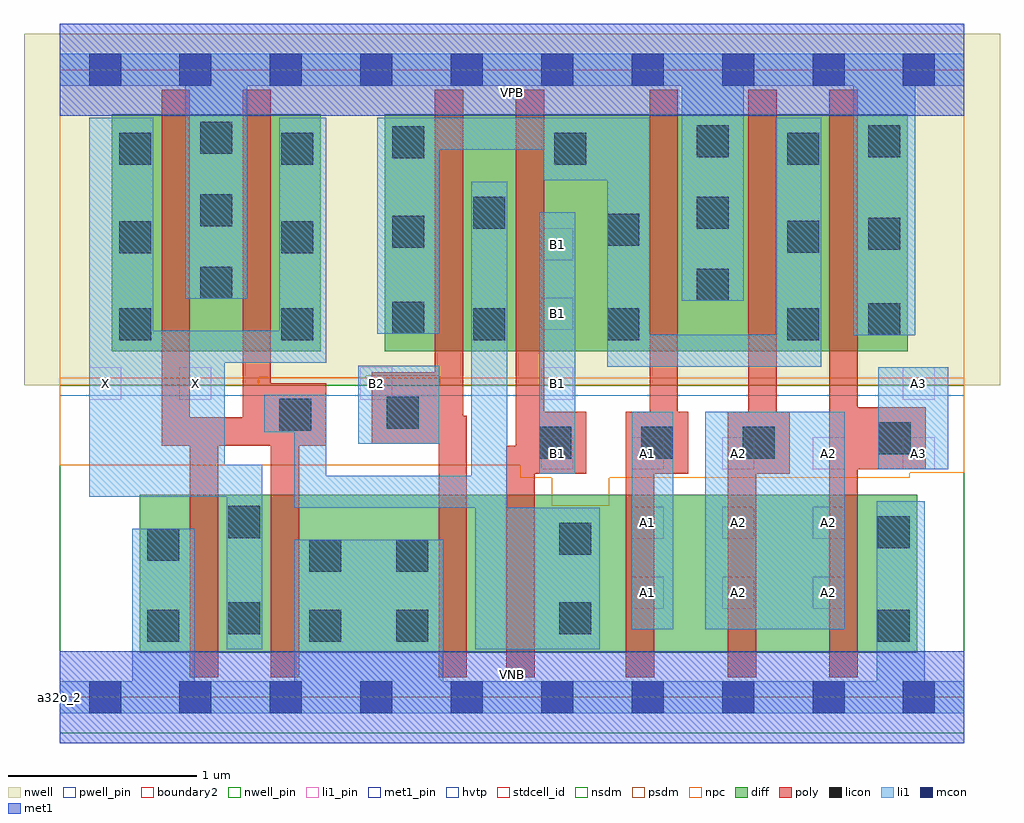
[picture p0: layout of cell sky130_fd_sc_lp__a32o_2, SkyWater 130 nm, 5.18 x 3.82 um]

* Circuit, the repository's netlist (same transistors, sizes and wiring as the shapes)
* Copyright 2020 The SkyWater PDK Authors
*
* Licensed under the Apache License, Version 2.0 (the "License");
* you may not use this file except in compliance with the License.
* You may obtain a copy of the License at
*
*     https://www.apache.org/licenses/LICENSE-2.0
*
* Unless required by applicable law or agreed to in writing, software
* distributed under the License is distributed on an "AS IS" BASIS,
* WITHOUT WARRANTIES OR CONDITIONS OF ANY KIND, either express or implied.
* See the License for the specific language governing permissions and
* limitations under the License.
*
* SPDX-License-Identifier: Apache-2.0

.SUBCKT sky130_fd_sc_lp__a32o_2 A1 A2 A3 B1 B2 VGND VNB VPB VPWR X
*.PININFO A1:I A2:I A3:I B1:I B2:I VGND:I VNB:I VPB:I VPWR:I X:O
MMPA0 pndA A1 VPWR VPB sky130_fd_pr__pfet_01v8_hvt m=1 w=1.26U l=0.15U mult=1 sa=0.265
+ sb=0.265 sd=0.28 area=0.063 perim=1.14
MMPA1 pndA A2 VPWR VPB sky130_fd_pr__pfet_01v8_hvt m=1 w=1.26U l=0.15U mult=1 sa=0.265
+ sb=0.265 sd=0.28 area=0.063 perim=1.14
MMPA2 pndA A3 VPWR VPB sky130_fd_pr__pfet_01v8_hvt m=1 w=1.26U l=0.15U mult=1 sa=0.265
+ sb=0.265 sd=0.28 area=0.063 perim=1.14
MMPB0 y B1 pndA VPB sky130_fd_pr__pfet_01v8_hvt m=1 w=1.26U l=0.15U mult=1 sa=0.265
+ sb=0.265 sd=0.28 area=0.063 perim=1.14
MMPB1 y B2 pndA VPB sky130_fd_pr__pfet_01v8_hvt m=1 w=1.26U l=0.15U mult=1 sa=0.265
+ sb=0.265 sd=0.28 area=0.063 perim=1.14
MMIPX X y VPWR VPB sky130_fd_pr__pfet_01v8_hvt m=2 w=1.26U l=0.15U mult=1 sa=0.265
+ sb=0.265 sd=0.28 area=0.063 perim=1.14
MMNA0 y A1 sndA1 VNB sky130_fd_pr__nfet_01v8 m=1 w=0.84U l=0.15U mult=1 sa=0.265
+ sb=0.265 sd=0.28 area=0.063 perim=1.14
MMNA1 sndA1 A2 sndA2 VNB sky130_fd_pr__nfet_01v8 m=1 w=0.84U l=0.15U mult=1 sa=0.265
+ sb=0.265 sd=0.28 area=0.063 perim=1.14
MMNA2 sndA2 A3 VGND VNB sky130_fd_pr__nfet_01v8 m=1 w=0.84U l=0.15U mult=1 sa=0.265
+ sb=0.265 sd=0.28 area=0.063 perim=1.14
MMNB0 y B1 sndB1 VNB sky130_fd_pr__nfet_01v8 m=1 w=0.84U l=0.15U mult=1 sa=0.265
+ sb=0.265 sd=0.28 area=0.063 perim=1.14
MMNB1 sndB1 B2 VGND VNB sky130_fd_pr__nfet_01v8 m=1 w=0.84U l=0.15U mult=1 sa=0.265
+ sb=0.265 sd=0.28 area=0.063 perim=1.14
MMINX X y VGND VNB sky130_fd_pr__nfet_01v8 m=2 w=0.84U l=0.15U mult=1 sa=0.265
+ sb=0.265 sd=0.28 area=0.063 perim=1.14
.ENDS sky130_fd_sc_lp__a32o_2

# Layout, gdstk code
import gdstk
lib = gdstk.Library(unit=1e-6, precision=1e-09)
def R(c, l, rs):  # rectangles x0, y0, x1, y1
    for r in rs: c.add(gdstk.rectangle(r[:2], r[2:], *l))
def A(c, l, x, y, w, h, nx, ny, dx, dy):  # array of equal rectangles
    R(c, l, [(x+i*dx, y+j*dy, x+i*dx+w, y+j*dy+h) for i in range(nx) for j in range(ny)])
def P(c, l, *ps):  # polygons
    for p in ps: c.add(gdstk.Polygon(p, *l))
nwell_pin = (64, 16)
nwell = (64, 20)
diff = (65, 20)
poly = (66, 20)
licon = (66, 44)
li1_pin = (67, 16)
li1 = (67, 20)
mcon = (67, 44)
met1_pin = (68, 16)
met1 = (68, 20)
hvtp = (78, 44)
stdcell_id = (81, 4)
nsdm = (93, 44)
psdm = (94, 20)
npc = (95, 20)
pwell_pin = (122, 16)
boundary2 = (236, 0)

sky130_fd_sc_lp__a32o_2 = lib.new_cell('sky130_fd_sc_lp__a32o_2')
R(sky130_fd_sc_lp__a32o_2, nwell_pin, [(0,3.085,4.8,3.33)])
R(sky130_fd_sc_lp__a32o_2, nwell, [(-0.19,1.655,4.99,3.52)])
R(sky130_fd_sc_lp__a32o_2, diff, [(0.425,0.235,4.55,1.075), (0.275,1.835,1.385,3.095), (1.725,1.835,4.5,3.095)])
P(sky130_fd_sc_lp__a32o_2, poly, [(1.415,1.665),(1.12,1.665),(1.12,3.225),(0.97,3.225),(0.97,1.485),(0.69,1.485),(0.69,3.225),(0.54,3.225),(0.54,1.335),(0.69,1.335),(0.69,0.105),(0.84,0.105),(0.84,1.335),(1.12,1.335),(1.12,0.105),(1.27,0.105),(1.27,1.335),(1.415,1.335)],
  [(2.16,1.495),(2.14,1.495),(2.14,3.225),(1.99,3.225),(1.99,1.725),(1.655,1.725),(1.655,1.345),(2.01,1.345),(2.01,0.105),(2.16,0.105)],
  [(2.795,1.515),(2.57,1.515),(2.57,3.225),(2.42,3.225),(2.42,1.335),(2.37,1.335),(2.37,0.105),(2.52,0.105),(2.52,1.185),(2.795,1.185)],
  [(3.335,1.515),(3.28,1.515),(3.28,3.225),(3.13,3.225),(3.13,1.515),(3.005,1.515),(3.005,0.105),(3.155,0.105),(3.155,1.185),(3.335,1.185)],
  [(3.875,1.515),(3.805,1.515),(3.805,3.225),(3.655,3.225),(3.655,1.515),(3.545,1.515),(3.545,0.105),(3.695,0.105),(3.695,1.185),(3.875,1.185)],
  [(4.595,1.54),(4.235,1.54),(4.235,3.225),(4.085,3.225),(4.085,0.105),(4.235,0.105),(4.235,1.21),(4.595,1.21)])
A(sky130_fd_sc_lp__a32o_2, licon, 2.545, 1.265, 0.17, 0.17, 3, 1, 0.54, 0)
A(sky130_fd_sc_lp__a32o_2, licon, 3.86, 1.895, 0.17, 0.17, 1, 3, 0, 0.465)
A(sky130_fd_sc_lp__a32o_2, licon, 3.38, 2.105, 0.17, 0.17, 1, 3, 0, 0.38)
A(sky130_fd_sc_lp__a32o_2, licon, 0.745, 2.115, 0.17, 0.17, 1, 3, 0, 0.385)
R(sky130_fd_sc_lp__a32o_2, licon, [(0.465,0.295,0.635,0.465), (1.325,0.295,1.495,0.465), (1.785,0.295,1.955,0.465), (4.34,0.295,4.51,0.465), (0.895,0.335,1.065,0.505), (2.65,0.335,2.82,0.505), (1.325,0.665,1.495,0.835), (1.785,0.665,1.955,0.835), (0.465,0.725,0.635,0.895), (2.65,0.755,2.82,0.925), (4.34,0.79,4.51,0.96), (0.895,0.845,1.065,1.015), (4.345,1.29,4.515,1.46), (1.165,1.415,1.335,1.585), (1.735,1.425,1.905,1.595), (0.315,1.895,0.485,2.065), (1.175,1.895,1.345,2.065), (2.195,1.895,2.365,2.065), (2.905,1.895,3.075,2.065), (4.29,1.92,4.46,2.09), (1.765,1.93,1.935,2.1), (0.315,2.355,0.485,2.525), (1.175,2.355,1.345,2.525), (4.29,2.375,4.46,2.545), (1.765,2.385,1.935,2.555), (2.905,2.395,3.075,2.565), (2.195,2.485,2.365,2.655), (0.315,2.825,0.485,2.995), (1.175,2.825,1.345,2.995), (2.625,2.825,2.795,2.995), (1.765,2.86,1.935,3.03), (4.29,2.865,4.46,3.035)])
A(sky130_fd_sc_lp__a32o_2, li1_pin, 3.035, 0.47, 0.17, 0.17, 3, 2, 0.48, 0.37)
A(sky130_fd_sc_lp__a32o_2, li1_pin, 2.555, 1.21, 0.17, 0.17, 5, 1, 0.48, 0)
A(sky130_fd_sc_lp__a32o_2, li1_pin, 0.635, 1.58, 0.17, 0.17, 3, 1, 0.96, 0)
R(sky130_fd_sc_lp__a32o_2, li1_pin, [(0.155,1.58,0.325,1.75), (4.475,1.58,4.645,1.75), (2.555,1.95,2.725,2.12), (2.555,2.32,2.725,2.49)])
R(sky130_fd_sc_lp__a32o_2, li1, [(3.035,0.36,3.255,1.515), (3.425,0.36,4.165,1.515), (2.545,1.185,2.735,2.575), (4.345,1.21,4.715,1.75), (1.585,1.345,2.015,1.76)])
P(sky130_fd_sc_lp__a32o_2, li1, [(4.21,1.92),(4.21,3.245),(3.63,3.245),(3.63,2.105),(3.3,2.105),(3.3,3.245),(0.995,3.245),(0.995,2.115),(0.665,2.115),(0.665,3.245),(0,3.245),(0,3.415),(4.8,3.415),(4.8,3.245),(4.54,3.245),(4.54,1.92)],
  [(4.335,0.085),(4.335,1.04),(4.59,1.04),(4.59,0.085),(4.8,0.085),(4.8,-0.085),(0,-0.085),(0,0.085),(0.385,0.085),(0.385,0.895),(0.715,0.895),(0.715,0.085),(1.245,0.085),(1.245,0.835),(2.035,0.835),(2.035,0.085)],
  [(0.155,1.065),(0.155,3.075),(0.495,3.075),(0.495,1.945),(1.165,1.945),(1.165,3.075),(1.415,3.075),(1.415,1.775),(0.875,1.775),(0.875,1.235),(1.075,1.235),(1.075,0.255),(0.885,0.255),(0.885,1.065)],
  [(1.245,1.005),(1.245,1.405),(1.085,1.405),(1.085,1.605),(1.415,1.605),(1.415,1.175),(2.185,1.175),(2.185,2.735),(2.375,2.735),(2.375,1.005),(2.865,1.005),(2.865,0.255),(2.205,0.255),(2.205,1.005)],
  [(4.04,3.075),(3.8,3.075),(3.8,1.925),(3.13,1.925),(3.13,3.075),(1.685,3.075),(1.685,1.93),(2.015,1.93),(2.015,2.905),(2.565,2.905),(2.565,2.745),(2.905,2.745),(2.905,1.755),(4.04,1.755)])
A(sky130_fd_sc_lp__a32o_2, mcon, 0.155, -0.085, 0.17, 0.17, 10, 2, 0.48, 3.33)
R(sky130_fd_sc_lp__a32o_2, met1_pin, [(0,0,4.8,0.245), (0,3.085,4.8,3.33)])
R(sky130_fd_sc_lp__a32o_2, met1, [(0,-0.245,4.8,0.245), (0,3.085,4.8,3.575)])
R(sky130_fd_sc_lp__a32o_2, hvtp, [(0,1.6,4.8,3.33)])
R(sky130_fd_sc_lp__a32o_2, stdcell_id, [(0,0,4.8,3.33)])
R(sky130_fd_sc_lp__a32o_2, nsdm, [(0,-0.19,4.8,1.655)])
P(sky130_fd_sc_lp__a32o_2, psdm, [(4.8,3.52),(0,3.52),(0,1.655),(1.055,1.655),(1.055,1.695),(1.625,1.695),(1.625,1.705),(2.015,1.705),(2.015,1.655),(4.8,1.655)])
P(sky130_fd_sc_lp__a32o_2, npc, [(4.8,1.695),(0,1.695),(0,1.23),(2.445,1.23),(2.445,1.165),(2.61,1.165),(2.61,1.015),(2.915,1.015),(2.915,1.165),(4.51,1.165),(4.51,1.19),(4.8,1.19)])
R(sky130_fd_sc_lp__a32o_2, pwell_pin, [(0,0,4.8,0.245)])
R(sky130_fd_sc_lp__a32o_2, boundary2, [(0,0,4.8,3.33)])
sky130_fd_sc_lp__a32o_2.add(gdstk.Label('VNB', (2.4,0.123), layer=64, texttype=59))
sky130_fd_sc_lp__a32o_2.add(gdstk.Label('VPB', (2.4,3.208), layer=64, texttype=5))
sky130_fd_sc_lp__a32o_2.add(gdstk.Label('a32o_2', (0,0), layer=83, texttype=44))
sky130_fd_sc_lp__a32o_2.add(gdstk.Label('VPWR', (2.4,3.208), layer=68, texttype=5))
sky130_fd_sc_lp__a32o_2.add(gdstk.Label('VGND', (2.4,0.123), layer=68, texttype=5))
sky130_fd_sc_lp__a32o_2.add(gdstk.Label('X', (0.24,1.665), layer=67, texttype=5))
sky130_fd_sc_lp__a32o_2.add(gdstk.Label('X', (0.72,1.665), layer=67, texttype=5))
sky130_fd_sc_lp__a32o_2.add(gdstk.Label('A1', (3.12,0.555), layer=67, texttype=5))
sky130_fd_sc_lp__a32o_2.add(gdstk.Label('A1', (3.12,0.925), layer=67, texttype=5))
sky130_fd_sc_lp__a32o_2.add(gdstk.Label('A1', (3.12,1.295), layer=67, texttype=5))
sky130_fd_sc_lp__a32o_2.add(gdstk.Label('A2', (3.6,0.555), layer=67, texttype=5))
sky130_fd_sc_lp__a32o_2.add(gdstk.Label('A2', (3.6,0.925), layer=67, texttype=5))
sky130_fd_sc_lp__a32o_2.add(gdstk.Label('A2', (3.6,1.295), layer=67, texttype=5))
sky130_fd_sc_lp__a32o_2.add(gdstk.Label('A2', (4.08,0.555), layer=67, texttype=5))
sky130_fd_sc_lp__a32o_2.add(gdstk.Label('A2', (4.08,0.925), layer=67, texttype=5))
sky130_fd_sc_lp__a32o_2.add(gdstk.Label('A2', (4.08,1.295), layer=67, texttype=5))
sky130_fd_sc_lp__a32o_2.add(gdstk.Label('B1', (2.64,1.295), layer=67, texttype=5))
sky130_fd_sc_lp__a32o_2.add(gdstk.Label('B1', (2.64,1.665), layer=67, texttype=5))
sky130_fd_sc_lp__a32o_2.add(gdstk.Label('B1', (2.64,2.035), layer=67, texttype=5))
sky130_fd_sc_lp__a32o_2.add(gdstk.Label('B1', (2.64,2.405), layer=67, texttype=5))
sky130_fd_sc_lp__a32o_2.add(gdstk.Label('A3', (4.56,1.295), layer=67, texttype=5))
sky130_fd_sc_lp__a32o_2.add(gdstk.Label('A3', (4.56,1.665), layer=67, texttype=5))
sky130_fd_sc_lp__a32o_2.add(gdstk.Label('B2', (1.68,1.665), layer=67, texttype=5))

lib.write_gds('sky130_fd_sc_lp__a32o_2.gds')
